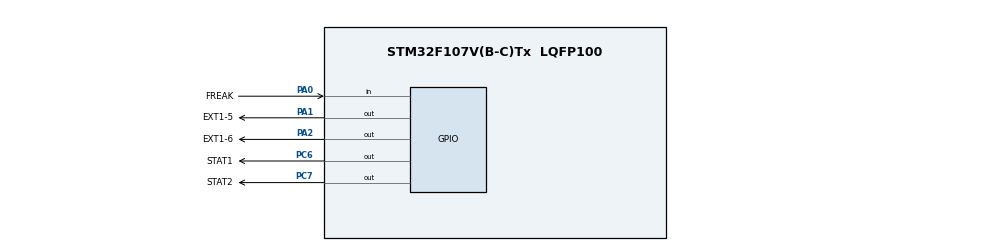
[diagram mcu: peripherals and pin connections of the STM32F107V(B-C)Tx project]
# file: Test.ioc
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FREERTOS.INCLUDE_vTaskDelayUntil=1
FREERTOS.Tasks01=defaultTask,0,128,StartDefaultTask,Default,NULL,Dynamic,NULL,NULL
Mcu.Family=STM32F1
Mcu.Name=STM32F107V(B-C)Tx
Mcu.Package=LQFP100
NVIC.PriorityGroup=NVIC_PRIORITYGROUP_4
NVIC.TIM1_UP_IRQn=true\:15\:0\:false\:false\:true\:false\:false\:true
NVIC.TimeBase=TIM1_UP_IRQn
NVIC.TimeBaseIP=TIM1
OSC_IN.Mode=HSE-External-Oscillator
OSC_IN.Signal=RCC_OSC_IN
OSC_OUT.Mode=HSE-External-Oscillator
OSC_OUT.Signal=RCC_OSC_OUT
PA0-WKUP.GPIO_Label=FREAK
PA0-WKUP.Signal=GPIO_Input
PA1.GPIO_Label=EXT1-5
PA1.Signal=GPIO_Output
PA13.Mode=JTAG_5_pins
PA13.Signal=SYS_JTMS-SWDIO
PA14.Mode=JTAG_5_pins
PA14.Signal=SYS_JTCK-SWCLK
PA15.Mode=JTAG_5_pins
PA15.Signal=SYS_JTDI
PA2.GPIO_Label=EXT1-6
PA2.Signal=GPIO_Output
PB3.Mode=JTAG_5_pins
PB3.Signal=SYS_JTDO
PB4.Mode=JTAG_5_pins
PB4.Signal=SYS_NJTRST
PC6.GPIO_Label=STAT1
PC6.Signal=GPIO_Output
PC7.GPIO_Label=STAT2
PC7.Signal=GPIO_Output
ProjectManager.HeapSize=0x200
ProjectManager.StackSize=0x400
ProjectManager.TargetToolchain=Makefile
RCC.HSE_VALUE=25000000
RCC.PLLSourceVirtual=RCC_PLLSOURCE_HSE
RCC.USBFreq_Value=66666666.666666664
VP_FREERTOS_VS_CMSIS_V1.Mode=CMSIS_V1
VP_SYS_VS_tim1.Mode=TIM1
board=custom

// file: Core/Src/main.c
/* USER CODE BEGIN Header */
/**
  ******************************************************************************
  * @file           : main.c
  * @brief          : Main program body
  ******************************************************************************
  * @attention
  *
  * <h2><center>&copy; Copyright (c) 2021 STMicroelectronics.
  * All rights reserved.</center></h2>
  *
  * This software component is licensed by ST under Ultimate Liberty license
  * SLA0044, the "License"; You may not use this file except in compliance with
  * the License. You may obtain a copy of the License at:
  *                             www.st.com/SLA0044
  *
  ******************************************************************************
  */
/* USER CODE END Header */
#include "main.h"
#include "cmsis_os.h"

osThreadId defaultTaskHandle;
/* USER CODE BEGIN PV */
osThreadId Task2Handle;
osThreadId TaskButtonHandle;
/* USER CODE END PV */

void SystemClock_Config(void);
static void MX_GPIO_Init(void);
void StartDefaultTask(void const * argument);

/* USER CODE BEGIN PFP */
void Task2_init(void const * argument);
void TaskButton_init(void const * argument);
/* USER CODE END PFP */

int main(void)
{

  /* MCU Configuration--------------------------------------------------------*/

  /* Reset of all peripherals, Initializes the Flash interface and the Systick. */
  HAL_Init();

  /* Configure the system clock */
  SystemClock_Config();

  /* Initialize all configured peripherals */
  MX_GPIO_Init();

  /* Create the thread(s) */
  /* definition and creation of defaultTask */
  osThreadDef(defaultTask, StartDefaultTask, osPriorityNormal, 0, 128);
  defaultTaskHandle = osThreadCreate(osThread(defaultTask), NULL);

  /* USER CODE BEGIN RTOS_THREADS */
  //osThreadDef(Task2, Task2_init, osPriorityBelowNormal,0, 128);
  //Task2Handle = osThreadCreate(osThread(Task2), NULL);

  osThreadDef(TaskButton, TaskButton_init, osPriorityNormal,0, 128);
  TaskButtonHandle = osThreadCreate(osThread(TaskButton), NULL);

  HAL_GPIO_WritePin(GPIOA, EXT1_5_Pin|EXT1_6_Pin, GPIO_PIN_SET);
  /* USER CODE END RTOS_THREADS */

  /* Start scheduler */
  osKernelStart();

  /* We should never get here as control is now taken by the scheduler */
  /* Infinite loop */
  while (1)
  {

  }
}

void SystemClock_Config(void)
{
  RCC_OscInitTypeDef RCC_OscInitStruct = {0};
  RCC_ClkInitTypeDef RCC_ClkInitStruct = {0};

  /** Initializes the RCC Oscillators according to the specified parameters
  * in the RCC_OscInitTypeDef structure.
  */
  RCC_OscInitStruct.OscillatorType = RCC_OSCILLATORTYPE_HSI;
  RCC_OscInitStruct.HSIState = RCC_HSI_ON;
  RCC_OscInitStruct.HSICalibrationValue = RCC_HSICALIBRATION_DEFAULT;
  RCC_OscInitStruct.PLL.PLLState = RCC_PLL_NONE;
  RCC_OscInitStruct.PLL2.PLL2State = RCC_PLL_NONE;
  if (HAL_RCC_OscConfig(&RCC_OscInitStruct) != HAL_OK)
  {
    Error_Handler();
  }
  /** Initializes the CPU, AHB and APB buses clocks
  */
  RCC_ClkInitStruct.ClockType = RCC_CLOCKTYPE_HCLK|RCC_CLOCKTYPE_SYSCLK
                              |RCC_CLOCKTYPE_PCLK1|RCC_CLOCKTYPE_PCLK2;
  RCC_ClkInitStruct.SYSCLKSource = RCC_SYSCLKSOURCE_HSI;
  RCC_ClkInitStruct.AHBCLKDivider = RCC_SYSCLK_DIV1;
  RCC_ClkInitStruct.APB1CLKDivider = RCC_HCLK_DIV1;
  RCC_ClkInitStruct.APB2CLKDivider = RCC_HCLK_DIV1;

  if (HAL_RCC_ClockConfig(&RCC_ClkInitStruct, FLASH_LATENCY_0) != HAL_OK)
  {
    Error_Handler();
  }
  /** Configure the Systick interrupt time
  */
  __HAL_RCC_PLLI2S_ENABLE();
}

static void MX_GPIO_Init(void)
{
  GPIO_InitTypeDef GPIO_InitStruct = {0};

  /* GPIO Ports Clock Enable */
  __HAL_RCC_GPIOA_CLK_ENABLE();
  __HAL_RCC_GPIOC_CLK_ENABLE();
  __HAL_RCC_GPIOB_CLK_ENABLE();

  /*Configure GPIO pin Output Level */
  HAL_GPIO_WritePin(GPIOA, EXT1_5_Pin|EXT1_6_Pin, GPIO_PIN_RESET);

  /*Configure GPIO pin Output Level */
  HAL_GPIO_WritePin(GPIOC, STAT1_Pin|STAT2_Pin, GPIO_PIN_RESET);

  /*Configure GPIO pin : FREAK_Pin */
  GPIO_InitStruct.Pin = FREAK_Pin;
  GPIO_InitStruct.Mode = GPIO_MODE_INPUT;
  GPIO_InitStruct.Pull = GPIO_NOPULL;
  HAL_GPIO_Init(FREAK_GPIO_Port, &GPIO_InitStruct);

  /*Configure GPIO pins : EXT1_5_Pin EXT1_6_Pin */
  GPIO_InitStruct.Pin = EXT1_5_Pin|EXT1_6_Pin;
  GPIO_InitStruct.Mode = GPIO_MODE_OUTPUT_PP;
  GPIO_InitStruct.Pull = GPIO_NOPULL;
  GPIO_InitStruct.Speed = GPIO_SPEED_FREQ_LOW;
  HAL_GPIO_Init(GPIOA, &GPIO_InitStruct);

  /*Configure GPIO pins : STAT1_Pin STAT2_Pin */
  GPIO_InitStruct.Pin = STAT1_Pin|STAT2_Pin;
  GPIO_InitStruct.Mode = GPIO_MODE_OUTPUT_PP;
  GPIO_InitStruct.Pull = GPIO_NOPULL;
  GPIO_InitStruct.Speed = GPIO_SPEED_FREQ_LOW;
  HAL_GPIO_Init(GPIOC, &GPIO_InitStruct);

}

/* USER CODE BEGIN 4 */
void Task2_init(void const * argument)
{

	while(1)
	{
		HAL_GPIO_WritePin(GPIOC, STAT1_Pin|STAT2_Pin, GPIO_PIN_SET);
		//HAL_Delay(432);
		//osDelay(233);
		vTaskDelay(233 / portTICK_PERIOD_MS);
		HAL_GPIO_WritePin(GPIOC, STAT1_Pin|STAT2_Pin, GPIO_PIN_RESET);
		//HAL_Delay(432);
		//osDelay(233);
		vTaskDelay(233 / portTICK_PERIOD_MS);
	}
}

void TaskButton_init(void const * argument)
{
	GPIO_PinState currentState;

	while(1)
	{
		currentState = HAL_GPIO_ReadPin(GPIOA, FREAK_Pin);

		if (currentState == GPIO_PIN_SET)
		{
			HAL_GPIO_TogglePin(GPIOC, STAT1_Pin|STAT2_Pin);
			//HAL_Delay(100);
			//osDelay(100);
			vTaskDelay(30 / portTICK_PERIOD_MS);
		}
		//vTaskDelay(10 / portTICK_PERIOD_MS);
	}
}
/* USER CODE END 4 */

void StartDefaultTask(void const * argument)
{
  /* USER CODE BEGIN 5 */
  /* Infinite loop */
  for(;;)
	{
		HAL_GPIO_TogglePin(GPIOC, STAT1_Pin|STAT2_Pin);
    HAL_GPIO_TogglePin(GPIOA, EXT1_5_Pin|EXT1_6_Pin);
		//HAL_Delay(250);
		//osDelay(250);
		vTaskDelay(2000 / portTICK_PERIOD_MS);
	}
  /* USER CODE END 5 */
}

void HAL_TIM_PeriodElapsedCallback(TIM_HandleTypeDef *htim)
{
  if (htim->Instance == TIM1) {
    HAL_IncTick();
  }
}

void Error_Handler(void)
{
  __disable_irq();
  while (1)
  {
  }
}

/************************ (C) COPYRIGHT STMicroelectronics *****END OF FILE****/
